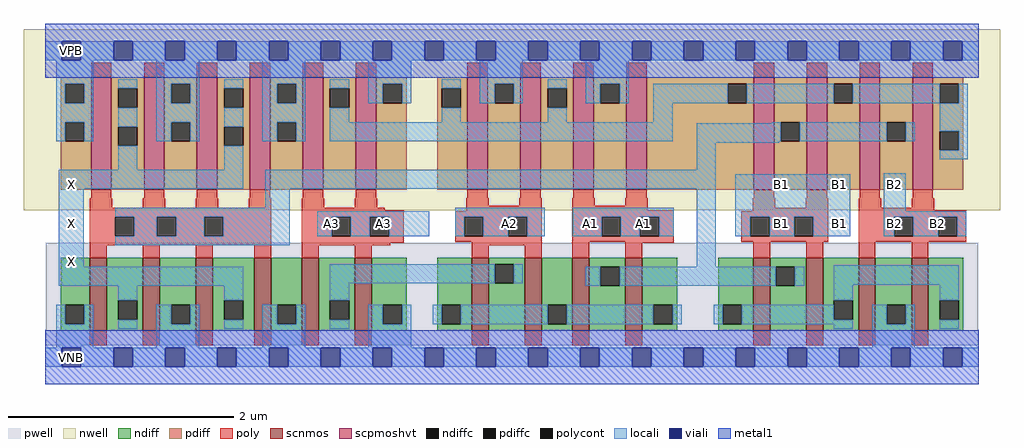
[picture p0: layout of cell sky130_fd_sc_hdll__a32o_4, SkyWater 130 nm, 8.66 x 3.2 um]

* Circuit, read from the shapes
.subckt sky130_fd_sc_hdll__a32o_4 A1 A2 A3 B1 B2 VGND VNB VPB VPWR X
XM1 X n1 VGND VNB sky130_fd_pr__nfet_01v8 w=0.65 l=0.15 m=4
XM2 n2 A3 VGND VNB sky130_fd_pr__nfet_01v8 w=0.65 l=0.15 m=2
XM3 n2 A2 n3 VNB sky130_fd_pr__nfet_01v8 w=0.65 l=0.15 m=2
XM4 n1 A1 n3 VNB sky130_fd_pr__nfet_01v8 w=0.65 l=0.15 m=2
XM5 n1 B1 n4 VNB sky130_fd_pr__nfet_01v8 w=0.65 l=0.15 m=2
XM6 VGND B2 n4 VNB sky130_fd_pr__nfet_01v8 w=0.65 l=0.15 m=2
XM7 X n1 VPWR VPB sky130_fd_pr__pfet_01v8_hvt w=1 l=0.18 m=4
XM8 n5 A3 VPWR VPB sky130_fd_pr__pfet_01v8_hvt w=1 l=0.18 m=2
XM9 VPWR A2 n5 VPB sky130_fd_pr__pfet_01v8_hvt w=1 l=0.18 m=2
XM10 VPWR A1 n5 VPB sky130_fd_pr__pfet_01v8_hvt w=1 l=0.18 m=2
XM11 n1 B1 n5 VPB sky130_fd_pr__pfet_01v8_hvt w=1 l=0.18 m=2
XM12 n1 B2 n5 VPB sky130_fd_pr__pfet_01v8_hvt w=1 l=0.18 m=2
.ends

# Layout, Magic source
magic
tech sky130A
magscale 1 2
<< nwell >>
rect -38 261 1694 582
<< pwell >>
rect 1 21 1655 203
rect 30 -17 64 21
<< scnmos >>
rect 79 47 109 177
rect 173 47 203 177
rect 267 47 297 177
rect 371 47 401 177
rect 455 47 485 177
rect 549 47 579 177
rect 757 47 787 177
rect 851 47 881 177
rect 935 47 965 177
rect 1029 47 1059 177
rect 1256 47 1286 177
rect 1350 47 1380 177
rect 1443 47 1473 177
rect 1537 47 1567 177
<< scpmoshvt >>
rect 81 297 117 497
rect 175 297 211 497
rect 269 297 305 497
rect 363 297 399 497
rect 457 297 493 497
rect 551 297 587 497
rect 749 297 785 497
rect 843 297 879 497
rect 937 297 973 497
rect 1031 297 1067 497
rect 1257 297 1293 497
rect 1351 297 1387 497
rect 1445 297 1481 497
rect 1539 297 1575 497
<< ndiff >>
rect 27 93 79 177
rect 27 59 35 93
rect 69 59 79 93
rect 27 47 79 59
rect 109 101 173 177
rect 109 67 129 101
rect 163 67 173 101
rect 109 47 173 67
rect 203 93 267 177
rect 203 59 223 93
rect 257 59 267 93
rect 203 47 267 59
rect 297 101 371 177
rect 297 67 317 101
rect 351 67 371 101
rect 297 47 371 67
rect 401 93 455 177
rect 401 59 411 93
rect 445 59 455 93
rect 401 47 455 59
rect 485 101 549 177
rect 485 67 505 101
rect 539 67 549 101
rect 485 47 549 67
rect 579 93 641 177
rect 579 59 599 93
rect 633 59 641 93
rect 579 47 641 59
rect 695 93 757 177
rect 695 59 703 93
rect 737 59 757 93
rect 695 47 757 59
rect 787 165 851 177
rect 787 131 797 165
rect 831 131 851 165
rect 787 47 851 131
rect 881 93 935 177
rect 881 59 891 93
rect 925 59 935 93
rect 881 47 935 59
rect 965 161 1029 177
rect 965 127 985 161
rect 1019 127 1029 161
rect 965 47 1029 127
rect 1059 93 1121 177
rect 1059 59 1079 93
rect 1113 59 1121 93
rect 1059 47 1121 59
rect 1194 93 1256 177
rect 1194 59 1202 93
rect 1236 59 1256 93
rect 1194 47 1256 59
rect 1286 161 1350 177
rect 1286 127 1296 161
rect 1330 127 1350 161
rect 1286 47 1350 127
rect 1380 101 1443 177
rect 1380 67 1399 101
rect 1433 67 1443 101
rect 1380 47 1443 67
rect 1473 93 1537 177
rect 1473 59 1493 93
rect 1527 59 1537 93
rect 1473 47 1537 59
rect 1567 101 1629 177
rect 1567 67 1587 101
rect 1621 67 1629 101
rect 1567 47 1629 67
<< pdiff >>
rect 27 485 81 497
rect 27 451 35 485
rect 69 451 81 485
rect 27 417 81 451
rect 27 383 35 417
rect 69 383 81 417
rect 27 297 81 383
rect 117 477 175 497
rect 117 443 129 477
rect 163 443 175 477
rect 117 409 175 443
rect 117 375 129 409
rect 163 375 175 409
rect 117 297 175 375
rect 211 485 269 497
rect 211 451 223 485
rect 257 451 269 485
rect 211 417 269 451
rect 211 383 223 417
rect 257 383 269 417
rect 211 297 269 383
rect 305 477 363 497
rect 305 443 317 477
rect 351 443 363 477
rect 305 409 363 443
rect 305 375 317 409
rect 351 375 363 409
rect 305 297 363 375
rect 399 485 457 497
rect 399 451 411 485
rect 445 451 457 485
rect 399 417 457 451
rect 399 383 411 417
rect 445 383 457 417
rect 399 297 457 383
rect 493 477 551 497
rect 493 443 505 477
rect 539 443 551 477
rect 493 297 551 443
rect 587 485 641 497
rect 587 451 599 485
rect 633 451 641 485
rect 587 297 641 451
rect 695 477 749 497
rect 695 443 703 477
rect 737 443 749 477
rect 695 297 749 443
rect 785 485 843 497
rect 785 451 797 485
rect 831 451 843 485
rect 785 297 843 451
rect 879 477 937 497
rect 879 443 891 477
rect 925 443 937 477
rect 879 297 937 443
rect 973 485 1031 497
rect 973 451 985 485
rect 1019 451 1031 485
rect 973 297 1031 451
rect 1067 485 1257 497
rect 1067 451 1211 485
rect 1245 451 1257 485
rect 1067 297 1257 451
rect 1293 417 1351 497
rect 1293 383 1305 417
rect 1339 383 1351 417
rect 1293 297 1351 383
rect 1387 485 1445 497
rect 1387 451 1399 485
rect 1433 451 1445 485
rect 1387 297 1445 451
rect 1481 417 1539 497
rect 1481 383 1493 417
rect 1527 383 1539 417
rect 1481 297 1539 383
rect 1575 485 1629 497
rect 1575 451 1587 485
rect 1621 451 1629 485
rect 1575 401 1629 451
rect 1575 367 1587 401
rect 1621 367 1629 401
rect 1575 297 1629 367
<< ndiffc >>
rect 35 59 69 93
rect 129 67 163 101
rect 223 59 257 93
rect 317 67 351 101
rect 411 59 445 93
rect 505 67 539 101
rect 599 59 633 93
rect 703 59 737 93
rect 797 131 831 165
rect 891 59 925 93
rect 985 127 1019 161
rect 1079 59 1113 93
rect 1202 59 1236 93
rect 1296 127 1330 161
rect 1399 67 1433 101
rect 1493 59 1527 93
rect 1587 67 1621 101
<< pdiffc >>
rect 35 451 69 485
rect 35 383 69 417
rect 129 443 163 477
rect 129 375 163 409
rect 223 451 257 485
rect 223 383 257 417
rect 317 443 351 477
rect 317 375 351 409
rect 411 451 445 485
rect 411 383 445 417
rect 505 443 539 477
rect 599 451 633 485
rect 703 443 737 477
rect 797 451 831 485
rect 891 443 925 477
rect 985 451 1019 485
rect 1211 451 1245 485
rect 1305 383 1339 417
rect 1399 451 1433 485
rect 1493 383 1527 417
rect 1587 451 1621 485
rect 1587 367 1621 401
<< poly >>
rect 81 497 117 523
rect 175 497 211 523
rect 269 497 305 523
rect 363 497 399 523
rect 457 497 493 523
rect 551 497 587 523
rect 749 497 785 523
rect 843 497 879 523
rect 937 497 973 523
rect 1031 497 1067 523
rect 1257 497 1293 523
rect 1351 497 1387 523
rect 1445 497 1481 523
rect 1539 497 1575 523
rect 81 282 117 297
rect 175 282 211 297
rect 269 282 305 297
rect 363 282 399 297
rect 457 282 493 297
rect 551 282 587 297
rect 749 282 785 297
rect 843 282 879 297
rect 937 282 973 297
rect 1031 282 1067 297
rect 1257 282 1293 297
rect 1351 282 1387 297
rect 1445 282 1481 297
rect 1539 282 1575 297
rect 79 265 119 282
rect 173 265 213 282
rect 267 265 307 282
rect 361 265 401 282
rect 79 249 401 265
rect 79 215 124 249
rect 158 215 198 249
rect 232 215 282 249
rect 316 215 401 249
rect 79 199 401 215
rect 79 177 109 199
rect 173 177 203 199
rect 267 177 297 199
rect 371 177 401 199
rect 455 265 495 282
rect 549 265 589 282
rect 747 269 787 282
rect 841 269 881 282
rect 455 261 602 265
rect 455 249 636 261
rect 747 259 881 269
rect 455 215 508 249
rect 542 215 576 249
rect 610 215 636 249
rect 455 203 636 215
rect 727 249 881 259
rect 727 215 743 249
rect 777 215 821 249
rect 855 215 881 249
rect 727 205 881 215
rect 455 199 612 203
rect 757 199 881 205
rect 455 177 485 199
rect 549 177 579 199
rect 757 177 787 199
rect 851 177 881 199
rect 935 269 975 282
rect 1029 269 1069 282
rect 935 261 1069 269
rect 1255 265 1295 282
rect 1349 265 1389 282
rect 935 249 1115 261
rect 1255 259 1389 265
rect 935 215 987 249
rect 1021 215 1055 249
rect 1089 215 1115 249
rect 935 205 1115 215
rect 1235 249 1389 259
rect 1235 215 1251 249
rect 1285 215 1329 249
rect 1363 215 1389 249
rect 1235 205 1389 215
rect 1443 265 1483 282
rect 1537 265 1577 282
rect 1443 261 1577 265
rect 1443 249 1634 261
rect 1443 215 1506 249
rect 1540 215 1584 249
rect 1618 215 1634 249
rect 1443 205 1634 215
rect 935 177 965 205
rect 1029 203 1115 205
rect 1029 177 1059 203
rect 1256 177 1286 205
rect 1350 177 1380 205
rect 1443 177 1473 205
rect 1537 177 1567 205
rect 79 21 109 47
rect 173 21 203 47
rect 267 21 297 47
rect 371 21 401 47
rect 455 21 485 47
rect 549 21 579 47
rect 757 21 787 47
rect 851 21 881 47
rect 935 21 965 47
rect 1029 21 1059 47
rect 1256 21 1286 47
rect 1350 21 1380 47
rect 1443 21 1473 47
rect 1537 21 1567 47
<< polycont >>
rect 124 215 158 249
rect 198 215 232 249
rect 282 215 316 249
rect 508 215 542 249
rect 576 215 610 249
rect 743 215 777 249
rect 821 215 855 249
rect 987 215 1021 249
rect 1055 215 1089 249
rect 1251 215 1285 249
rect 1329 215 1363 249
rect 1506 215 1540 249
rect 1584 215 1618 249
<< locali >>
rect 0 527 29 561
rect 63 527 121 561
rect 155 527 213 561
rect 247 527 305 561
rect 339 527 397 561
rect 431 527 489 561
rect 523 527 581 561
rect 615 527 673 561
rect 707 527 765 561
rect 799 527 857 561
rect 891 527 949 561
rect 983 527 1041 561
rect 1075 527 1133 561
rect 1167 527 1225 561
rect 1259 527 1317 561
rect 1351 527 1409 561
rect 1443 527 1501 561
rect 1535 527 1593 561
rect 1627 527 1656 561
rect 19 485 85 527
rect 19 451 35 485
rect 69 451 85 485
rect 19 417 85 451
rect 19 383 35 417
rect 69 383 85 417
rect 129 477 163 493
rect 129 409 163 443
rect 197 485 273 527
rect 197 451 223 485
rect 257 451 273 485
rect 197 417 273 451
rect 197 383 223 417
rect 257 383 273 417
rect 317 477 351 493
rect 317 409 351 443
rect 129 333 163 375
rect 385 485 461 527
rect 385 451 411 485
rect 445 451 461 485
rect 385 417 461 451
rect 385 383 411 417
rect 445 383 461 417
rect 505 477 539 493
rect 573 485 649 527
rect 573 451 599 485
rect 633 451 649 485
rect 703 477 737 493
rect 505 417 539 443
rect 771 485 847 527
rect 771 451 797 485
rect 831 451 847 485
rect 891 477 925 493
rect 703 417 737 443
rect 959 485 1035 527
rect 959 451 985 485
rect 1019 451 1035 485
rect 1079 451 1211 485
rect 1245 451 1399 485
rect 1433 451 1587 485
rect 1621 451 1637 485
rect 891 417 925 443
rect 1079 417 1113 451
rect 505 383 1113 417
rect 1289 415 1305 417
rect 1156 383 1305 415
rect 1339 383 1493 417
rect 1527 383 1543 417
rect 1587 401 1637 451
rect 317 333 351 375
rect 1156 381 1302 383
rect 1156 333 1190 381
rect 1621 367 1637 401
rect 1587 351 1637 367
rect 24 299 351 333
rect 390 299 1190 333
rect 24 161 68 299
rect 390 265 434 299
rect 124 249 434 265
rect 158 215 198 249
rect 232 215 282 249
rect 316 215 434 249
rect 482 249 681 259
rect 482 215 508 249
rect 542 215 576 249
rect 610 215 681 249
rect 727 249 886 265
rect 727 215 743 249
rect 777 215 821 249
rect 855 215 886 249
rect 936 249 1115 265
rect 936 215 987 249
rect 1021 215 1055 249
rect 1089 215 1115 249
rect 124 199 434 215
rect 24 127 351 161
rect 129 101 163 127
rect 19 59 35 93
rect 69 59 85 93
rect 19 17 85 59
rect 317 101 351 127
rect 129 51 163 67
rect 197 59 223 93
rect 257 59 273 93
rect 197 17 273 59
rect 505 131 797 165
rect 831 131 847 165
rect 1156 161 1190 299
rect 1224 249 1428 325
rect 1224 215 1251 249
rect 1285 215 1329 249
rect 1363 215 1428 249
rect 1488 259 1527 327
rect 1488 249 1634 259
rect 1488 215 1506 249
rect 1540 215 1584 249
rect 1618 215 1634 249
rect 505 101 539 131
rect 959 127 985 161
rect 1019 127 1296 161
rect 1330 127 1347 161
rect 1399 129 1621 163
rect 317 51 351 67
rect 385 59 411 93
rect 445 59 461 93
rect 385 17 461 59
rect 1399 101 1433 129
rect 505 51 539 67
rect 573 59 599 93
rect 633 59 649 93
rect 687 59 703 93
rect 737 59 891 93
rect 925 59 1079 93
rect 1113 59 1129 93
rect 1186 59 1202 93
rect 1236 67 1399 93
rect 1587 101 1621 129
rect 1236 59 1433 67
rect 573 17 649 59
rect 1399 51 1433 59
rect 1467 59 1493 93
rect 1527 59 1543 93
rect 1467 17 1543 59
rect 1587 51 1621 67
rect 0 -17 29 17
rect 63 -17 121 17
rect 155 -17 213 17
rect 247 -17 305 17
rect 339 -17 397 17
rect 431 -17 489 17
rect 523 -17 581 17
rect 615 -17 673 17
rect 707 -17 765 17
rect 799 -17 857 17
rect 891 -17 949 17
rect 983 -17 1041 17
rect 1075 -17 1133 17
rect 1167 -17 1225 17
rect 1259 -17 1317 17
rect 1351 -17 1409 17
rect 1443 -17 1501 17
rect 1535 -17 1593 17
rect 1627 -17 1656 17
<< viali >>
rect 29 527 63 561
rect 121 527 155 561
rect 213 527 247 561
rect 305 527 339 561
rect 397 527 431 561
rect 489 527 523 561
rect 581 527 615 561
rect 673 527 707 561
rect 765 527 799 561
rect 857 527 891 561
rect 949 527 983 561
rect 1041 527 1075 561
rect 1133 527 1167 561
rect 1225 527 1259 561
rect 1317 527 1351 561
rect 1409 527 1443 561
rect 1501 527 1535 561
rect 1593 527 1627 561
rect 29 -17 63 17
rect 121 -17 155 17
rect 213 -17 247 17
rect 305 -17 339 17
rect 397 -17 431 17
rect 489 -17 523 17
rect 581 -17 615 17
rect 673 -17 707 17
rect 765 -17 799 17
rect 857 -17 891 17
rect 949 -17 983 17
rect 1041 -17 1075 17
rect 1133 -17 1167 17
rect 1225 -17 1259 17
rect 1317 -17 1351 17
rect 1409 -17 1443 17
rect 1501 -17 1535 17
rect 1593 -17 1627 17
<< metal1 >>
rect 0 561 1656 592
rect 0 527 29 561
rect 63 527 121 561
rect 155 527 213 561
rect 247 527 305 561
rect 339 527 397 561
rect 431 527 489 561
rect 523 527 581 561
rect 615 527 673 561
rect 707 527 765 561
rect 799 527 857 561
rect 891 527 949 561
rect 983 527 1041 561
rect 1075 527 1133 561
rect 1167 527 1225 561
rect 1259 527 1317 561
rect 1351 527 1409 561
rect 1443 527 1501 561
rect 1535 527 1593 561
rect 1627 527 1656 561
rect 0 496 1656 527
rect 0 17 1656 48
rect 0 -17 29 17
rect 63 -17 121 17
rect 155 -17 213 17
rect 247 -17 305 17
rect 339 -17 397 17
rect 431 -17 489 17
rect 523 -17 581 17
rect 615 -17 673 17
rect 707 -17 765 17
rect 799 -17 857 17
rect 891 -17 949 17
rect 983 -17 1041 17
rect 1075 -17 1133 17
rect 1167 -17 1225 17
rect 1259 -17 1317 17
rect 1351 -17 1409 17
rect 1443 -17 1501 17
rect 1535 -17 1593 17
rect 1627 -17 1656 17
rect 0 -48 1656 -17
<< labels >>
flabel locali s 491 221 525 255 0 FreeSans 200 0 0 0 A3
port 3 nsew signal input
flabel locali s 30 221 64 255 0 FreeSans 200 0 0 0 X
port 10 nsew signal output
flabel locali s 30 289 64 323 0 FreeSans 200 0 0 0 X
port 10 nsew signal output
flabel locali s 30 153 64 187 0 FreeSans 200 0 0 0 X
port 10 nsew signal output
flabel locali s 1393 289 1427 323 0 FreeSans 200 0 0 0 B1
port 4 nsew signal input
flabel locali s 1393 221 1427 255 0 FreeSans 200 0 0 0 B1
port 4 nsew signal input
flabel locali s 1490 221 1524 255 0 FreeSans 200 0 0 0 B2
port 5 nsew signal input
flabel locali s 1307 306 1307 306 0 FreeSans 200 0 0 0 B1
port 4 nsew
flabel locali s 1044 221 1078 255 0 FreeSans 200 0 0 0 A1
port 1 nsew signal input
flabel locali s 1307 238 1307 238 0 FreeSans 200 0 0 0 B1
port 4 nsew
flabel locali s 1490 289 1524 323 0 FreeSans 200 0 0 0 B2
port 5 nsew signal input
flabel locali s 1583 238 1583 238 0 FreeSans 200 0 0 0 B2
port 5 nsew
flabel locali s 807 221 841 255 0 FreeSans 200 0 0 0 A2
port 2 nsew signal input
flabel locali s 583 221 617 255 0 FreeSans 200 0 0 0 A3
port 3 nsew signal input
flabel locali s 950 221 984 255 0 FreeSans 200 0 0 0 A1
port 1 nsew signal input
flabel pwell s 30 -17 64 17 0 FreeSans 200 0 0 0 VNB
port 7 nsew ground bidirectional
flabel nwell s 30 527 64 561 0 FreeSans 200 0 0 0 VPB
port 8 nsew power bidirectional
flabel metal1 s 30 -17 64 17 0 FreeSans 200 0 0 0 VGND
port 6 nsew ground bidirectional
flabel metal1 s 30 527 64 561 0 FreeSans 200 0 0 0 VPWR
port 9 nsew power bidirectional
<< properties >>
string LEFsite unithd
string LEFclass CORE
string FIXED_BBOX 0 0 1656 544
string GDS_FILE $PDKPATH/libs.ref/sky130_fd_sc_hdll/gds/sky130_fd_sc_hdll.gds
string LEFsymmetry X Y R90
string GDS_END 845414
string GDS_START 833248
string LEFproperties maskLayoutSubType "abstract" prCellType "standard" originalViewName "layout"
<< end >>
